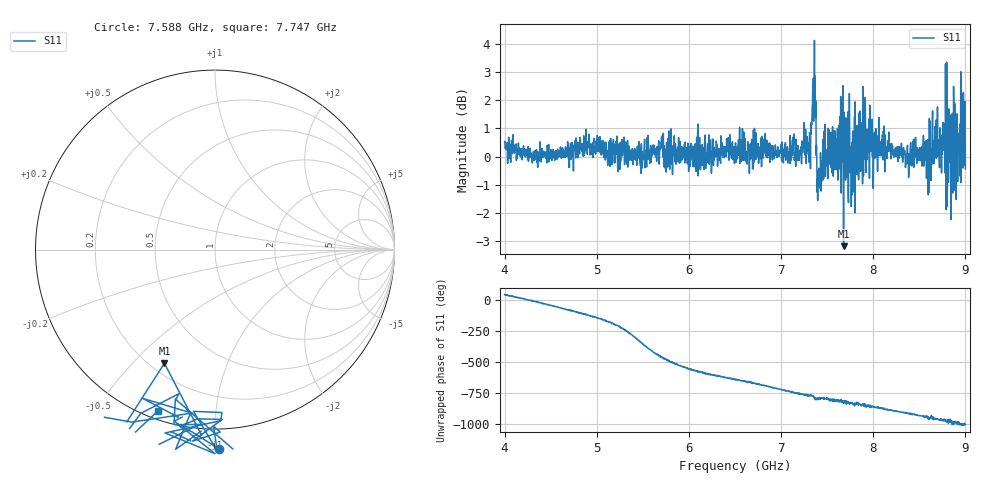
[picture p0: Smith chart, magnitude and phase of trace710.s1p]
! Created with skrf 1.8.0 (http://scikit-rf.org).
# Hz S RI R 50.0
!freq ReS11 ImS11
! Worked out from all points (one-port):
!   1601 points, 4 GHz to 9 GHz, reference 50 ohm
!   lowest |S11| = -3.2 dB at 7.678 GHz (marker M1), VSWR 5.52, Z = 12.7 - j31 ohm
!   |S11| at or under -10 dB: nowhere
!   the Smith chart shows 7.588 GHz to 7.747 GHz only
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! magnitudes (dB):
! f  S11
! 4 GHz  0.5
! 4.625 GHz  0.0
! 4.897 GHz  0.1
! 5.25 GHz  -0.5
! 5.875 GHz  -0.2
! 6.5 GHz  0.3
! 7.125 GHz  0.2
! 7.294 GHz  0.4
! 7.316 GHz  0.5
! 7.353 GHz  1.3
! 7.412 GHz  -1.0
! 7.538 GHz  0.9
! 7.609 GHz  -0.1
! 7.65 GHz  0.9
! 7.678 GHz  -3.2
! 7.75 GHz  -0.6
! 7.775 GHz  0.5
! 7.862 GHz  -0.5
! 7.962 GHz  1.8
! 8.375 GHz  -0.2
! 8.55 GHz  -0.3
! 8.609 GHz  1.4
! 8.662 GHz  0.6
! 8.725 GHz  1.0
! 8.775 GHz  1.1
! 8.844 GHz  -2.2
! 8.972 GHz  0.9
! 9 GHz  -0.4
